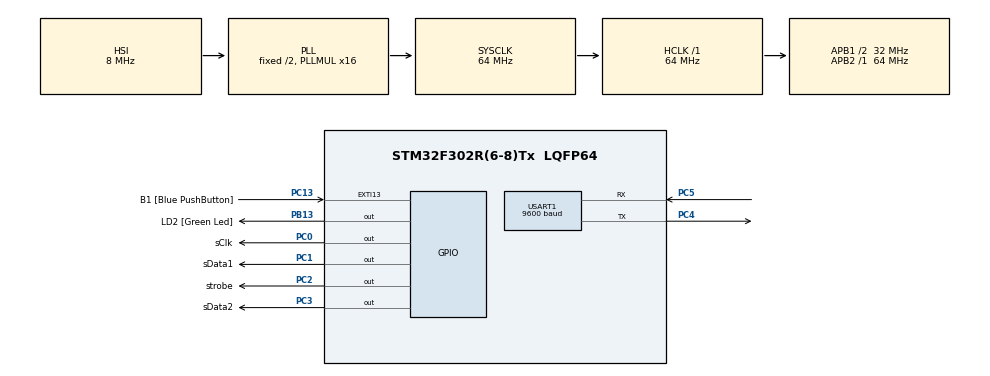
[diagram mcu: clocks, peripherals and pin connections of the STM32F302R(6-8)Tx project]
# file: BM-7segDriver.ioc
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Mcu.Family=STM32F3
Mcu.Name=STM32F302R(6-8)Tx
Mcu.Package=LQFP64
NVIC.EXTI15_10_IRQn=true\:0\:0\:false\:false\:true\:true\:true\:true
NVIC.PriorityGroup=NVIC_PRIORITYGROUP_0
NVIC.TIM2_IRQn=true\:0\:0\:false\:false\:true\:true\:true\:true
PA13.GPIO_Label=TMS
PA13.Mode=Serial_Wire
PA13.Signal=SYS_JTMS-SWDIO
PA14.GPIO_Label=TCK
PA14.Mode=Serial_Wire
PA14.Signal=SYS_JTCK-SWCLK
PA2.GPIO_Label=USART_TX
PA2.GPIO_Mode=GPIO_MODE_AF_PP
PA2.GPIO_PuPd=GPIO_NOPULL
PA2.GPIO_Speed=GPIO_SPEED_FREQ_LOW
PA2.Signal=USART2_TX
PA3.GPIO_Label=USART_RX
PA3.GPIO_Mode=GPIO_MODE_AF_PP
PA3.GPIO_PuPd=GPIO_NOPULL
PA3.GPIO_Speed=GPIO_SPEED_FREQ_LOW
PA3.Signal=USART2_RX
PB13.GPIO_Label=LD2 [Green Led]
PB13.Signal=GPIO_Output
PB3.GPIO_Label=SWO
PB3.Mode=Trace_Asynchronous_SW
PB3.Signal=SYS_JTDO-TRACESWO
PC0.GPIO_Label=sClk
PC0.GPIO_Speed=GPIO_SPEED_FREQ_HIGH
PC0.Signal=GPIO_Output
PC1.GPIO_Label=sData1
PC1.GPIO_Speed=GPIO_SPEED_FREQ_HIGH
PC1.Signal=GPIO_Output
PC13.GPIO_Label=B1 [Blue PushButton]
PC13.GPIO_ModeDefaultEXTI=GPIO_MODE_IT_RISING
PC13.Signal=GPXTI13
PC14\ -\ OSC32_IN.Mode=LSE-External-Oscillator
PC14\ -\ OSC32_IN.Signal=RCC_OSC32_IN
PC15\ -\ OSC32_OUT.Mode=LSE-External-Oscillator
PC15\ -\ OSC32_OUT.Signal=RCC_OSC32_OUT
PC2.GPIO_Label=strobe
PC2.GPIO_Speed=GPIO_SPEED_FREQ_HIGH
PC2.Signal=GPIO_Output
PC3.GPIO_Label=sData2
PC3.Signal=GPIO_Output
PC4.Mode=Asynchronous
PC4.Signal=USART1_TX
PC5.Mode=Asynchronous
PC5.Signal=USART1_RX
PF0-OSC_IN.Mode=HSE-External-Clock-Source
PF0-OSC_IN.Signal=RCC_OSC_IN
PF1-OSC_OUT.Signal=RCC_OSC_OUT
ProjectManager.HeapSize=0x200
ProjectManager.StackSize=0x400
ProjectManager.TargetToolchain=STM32CubeIDE
RCC.AHBFreq_Value=64000000
RCC.APB1CLKDivider=RCC_HCLK_DIV2
RCC.APB1Freq_Value=32000000
RCC.APB1TimFreq_Value=64000000
RCC.APB2Freq_Value=64000000
RCC.APB2TimFreq_Value=64000000
RCC.CortexFreq_Value=64000000
RCC.HCLKFreq_Value=64000000
RCC.HSE_VALUE=8000000
RCC.HSI_VALUE=8000000
RCC.PLLM=8
RCC.PLLMUL=RCC_PLL_MUL16
RCC.PLLN=336
RCC.PLLP=RCC_PLLP_DIV4
RCC.PLLQ=7
RCC.RCC_PLLsource_Clock_Source_FROM_HSE=RCC_HSE_PREDIV_DIV2
RCC.SYSCLKFreq_VALUE=64000000
RCC.SYSCLKSourceVirtual=RCC_SYSCLKSOURCE_PLLCLK
RCC.USBFreq_Value=64000000
TIM2.Period=100000
USART1.BaudRate=9600
USART1.VirtualMode-Asynchronous=VM_ASYNC
VP_TIM15_VS_ClockSourceINT.Mode=Internal
VP_TIM2_VS_ClockSourceINT.Mode=Internal
board=NUCLEO-F302R8

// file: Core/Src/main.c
/* USER CODE BEGIN Header */
/**
  ******************************************************************************
  * @file           : main.c
  * @brief          : Main program body
  ******************************************************************************
  * @attention
  *
  * Copyright (c) 2024 STMicroelectronics.
  * All rights reserved.
  *
  * This software is licensed under terms that can be found in the LICENSE file
  * in the root directory of this software component.
  * If no LICENSE file comes with this software, it is provided AS-IS.
  *
  ******************************************************************************
  */
/**
 * Version 1.0 07MAR24 /Dkv
 * Code for serial data transmission.
 * Receiving end-point is 2 8-bit cascade connected shift registers which is to
 * output data to two digit 7-segment display (each shit register is assigned to
 * one large 7-segment display).
 *
 * The shift registers is MC14094 or cd4094.
 * Must use a TTL(3.3V) to CMOS(12V) interface level shifter.
 *
 */
/* USER CODE END Header */
#include "main.h"

TIM_HandleTypeDef htim2;
TIM_HandleTypeDef htim15;

UART_HandleTypeDef huart1;

void SystemClock_Config(void);
static void MX_GPIO_Init(void);
static void MX_TIM2_Init(void);
static void MX_USART1_UART_Init(void);
static void MX_TIM15_Init(void);

/* USER CODE BEGIN 0 */

// 7-segment digit      0    1    2    3    4    5    6    7    8    9
// Common anode
//uint8_t ssCode[] = {0xc0,0xf9,0xa4,0xb0,0x99,0x92,0x82,0xf8,0x80,0x90}; // from the Internet

// Common cathode
//uint8_t ssCode[] = {0x3f,0x06,0x5b,0x4f,0x66,0x6d,0x7d,0x07,0xf7,0x4f}; // from the Internet
uint8_t ssCode[] = {0x3f,0x06,0x5b,0x4f,0x66,0x6d,0x7d,0x07,0x7f,0x67};
int delay = 1;
enum stop_watch_state {
   RUNNING,
   STOPPED,
   RESET_
} stopWatchState = RESET_;

void HAL_GPIO_EXTI_Callback(uint16_t GPIO_Pin) {
   if (stopWatchState == RUNNING) {
      stopWatchState = STOPPED;
      printf("Stop-watch STOPPED\r\n");
   }
   else if (stopWatchState == STOPPED) {
      stopWatchState = RESET_;
      printf("Stop-watch RESET\r\n");
   }
   else {
      // START
      stopWatchState = RUNNING;
      printf("Stop-watch RUNNING\r\n");
   }
}
/*
void HAL_TIM_PeriodElapsedCallback(TIM_HandleTypeDef *htim) {
   HAL_GPIO_TogglePin(LD2_GPIO_Port, LD2_Pin);
   HAL_TIM_Base_Start_IT(&htim2);
}
*/

int _write(int fd, char *ptr, int len) {
   //HAL_UART_Transmit(&huart1, (uint8_t *) ptr, len, HAL_MAX_DELAY);
   HAL_UART_Transmit(&huart1, (uint8_t*) ptr, len, 1000);
   return len;
}

void delay_us(volatile uint16_t au16_us)
{
   htim15.Instance->CNT = 0;
   while (htim15.Instance->CNT < au16_us);
}

void updateDisplay(uint8_t twoDigitNumber) {
   uint8_t sLine = 0;
   uint8_t element = 0;

   if (twoDigitNumber > 99)
      twoDigitNumber = 99;

   // First digit.
   uint8_t digit = twoDigitNumber%10;
   HAL_GPIO_TogglePin(LD2_GPIO_Port, LD2_Pin);

   // Start sending
   while (element < 2) {
      for (int i = 0; i < 8; i++) {
         // msb (most significant bit) on the line first => big endian (lowest value at the highest address at the receiving side)
         sLine = (ssCode[digit] >> (7-i)) & 0x1;
         // Data on sData_Pin
         HAL_GPIO_WritePin(GPIOC, sData1_Pin, sLine); //PC1 <=> D-SUB#4 = Orange&White = DATA
         HAL_Delay(delay);

         // Clock goes HIGH latching the data Neg. Logic
         HAL_GPIO_WritePin(GPIOC, sClk_Pin, GPIO_PIN_SET); //PC0 <=> D-SUB#5 = Green = CLK
         HAL_Delay(delay);
         //
         HAL_GPIO_WritePin(GPIOC, sClk_Pin, GPIO_PIN_RESET);
         HAL_Delay(delay);
      }
      // Second digit
      digit = twoDigitNumber/10;
      element++;
   }
   // Transmission done - strobe / latch new data onto the output on the shift registers.
   HAL_GPIO_WritePin(GPIOC, strobe_Pin, GPIO_PIN_SET); //PC2 <=> D-SUB#3 = Orange = STROBE
   HAL_Delay(delay);
   HAL_GPIO_WritePin(GPIOC, strobe_Pin, GPIO_PIN_RESET);
}

void update4Displays(uint16_t fourDigitNumber) {
   uint8_t sLine1 = 0;
   uint8_t sLine2 = 0;
   uint8_t element = 0;
   uint16_t modulo = 10;
   uint16_t digitPos = 1;
   uint8_t digits[4];

   // Extract digits to send
   for (int i = 0; i < 3; i++) {
      digits[i] = (fourDigitNumber%modulo)/digitPos;
      digitPos *= 10;
      modulo *= 10;
   }
   digits[3] = fourDigitNumber/digitPos;
   //printf("Digit string to send: %d %d %d %d\r\n", digits[3],digits[2],digits[1],digits[0]);
   //uint8_t digit = fourDigitNumber%modulo;
   HAL_GPIO_TogglePin(LD2_GPIO_Port, LD2_Pin);

   // Start sending
   while (element < 2) {
      for (int i = 0; i < 8; i++) {
         // msb (most significant bit) on the line first => big endian (lowest value at the highest address at the receiving side)
         sLine1 = (ssCode[digits[element]] >> (7-i)) & 0x1;
         sLine2 = (ssCode[digits[element+2]] >> (7-i)) & 0x1;
         // Data on sData_Pin
         HAL_GPIO_WritePin(GPIOC, sData1_Pin, sLine1); //PC1 <=> D-SUB#4 = Orange&White = DATA for display element 1
         HAL_GPIO_WritePin(GPIOC, sData2_Pin, sLine2); //PC3 <=> D-SUB#4 = Green&White = DATA for display element 2
         //HAL_Delay(delay);
         delay_us(250);

         // Clock goes HIGH latching the data Neg. Logic
         HAL_GPIO_WritePin(GPIOC, sClk_Pin, GPIO_PIN_SET); //PC0 <=> D-SUB#5 = Green = CLK
         //HAL_Delay(delay);
         delay_us(250);
         //
         HAL_GPIO_WritePin(GPIOC, sClk_Pin, GPIO_PIN_RESET);
         //HAL_Delay(delay);
         delay_us(250);
      }
      element++;
   }
   // Transmission done - strobe / latch new data onto the output on the shift registers.
   HAL_GPIO_WritePin(GPIOC, strobe_Pin, GPIO_PIN_SET); //PC2 <=> D-SUB#3 = Orange = STROBE
   HAL_Delay(delay);
   HAL_GPIO_WritePin(GPIOC, strobe_Pin, GPIO_PIN_RESET);
}
/* USER CODE END 0 */

int main(void)
{
  /* USER CODE BEGIN 1 */
  uint16_t stopWachTime = 0;
  //uint16_t hundreds = 0;
  //uint8_t seconds = 0;
  uint8_t resetSent = 0;
  /* USER CODE END 1 */

  /* MCU Configuration--------------------------------------------------------*/

  /* Reset of all peripherals, Initializes the Flash interface and the Systick. */
  HAL_Init();

  /* Configure the system clock */
  SystemClock_Config();

  /* Initialize all configured peripherals */
  MX_GPIO_Init();
  MX_TIM2_Init();
  MX_USART1_UART_Init();
  MX_TIM15_Init();
  /* USER CODE BEGIN 2 */
  HAL_GPIO_WritePin(LD2_GPIO_Port, LD2_Pin, GPIO_PIN_SET);
  HAL_TIM_Base_Start(&htim15);
  //HAL_Delay(2000);
  //HAL_GPIO_TogglePin(LD2_GPIO_Port, LD2_Pin);
  //HAL_TIM_Base_Start_IT(&htim2);
  update4Displays(1234);
  /* USER CODE END 2 */

  /* Infinite loop */
  while (1)
  {

    /* USER CODE BEGIN 3 */
     if (stopWatchState == RUNNING) {
        resetSent = 0;
        if (++stopWachTime > 5999) {
           stopWachTime = 0;
        }
        update4Displays(stopWachTime);
     }
     if (stopWatchState == RESET_) {
        if (resetSent == 0) {
           //printf("Stop-watch RESET*\r\n");
           stopWachTime = 0;
           update4Displays(stopWachTime);
           resetSent = 1;
        }
     }
     HAL_Delay(7);
  }
  /* USER CODE END 3 */
}

void SystemClock_Config(void)
{
  RCC_OscInitTypeDef RCC_OscInitStruct = {0};
  RCC_ClkInitTypeDef RCC_ClkInitStruct = {0};
  RCC_PeriphCLKInitTypeDef PeriphClkInit = {0};

  /** Initializes the RCC Oscillators according to the specified parameters
  * in the RCC_OscInitTypeDef structure.
  */
  RCC_OscInitStruct.OscillatorType = RCC_OSCILLATORTYPE_HSI;
  RCC_OscInitStruct.HSIState = RCC_HSI_ON;
  RCC_OscInitStruct.HSICalibrationValue = RCC_HSICALIBRATION_DEFAULT;
  RCC_OscInitStruct.PLL.PLLState = RCC_PLL_ON;
  RCC_OscInitStruct.PLL.PLLSource = RCC_PLLSOURCE_HSI;
  RCC_OscInitStruct.PLL.PLLMUL = RCC_PLL_MUL16;
  if (HAL_RCC_OscConfig(&RCC_OscInitStruct) != HAL_OK)
  {
    Error_Handler();
  }

  /** Initializes the CPU, AHB and APB buses clocks
  */
  RCC_ClkInitStruct.ClockType = RCC_CLOCKTYPE_HCLK|RCC_CLOCKTYPE_SYSCLK
                              |RCC_CLOCKTYPE_PCLK1|RCC_CLOCKTYPE_PCLK2;
  RCC_ClkInitStruct.SYSCLKSource = RCC_SYSCLKSOURCE_PLLCLK;
  RCC_ClkInitStruct.AHBCLKDivider = RCC_SYSCLK_DIV1;
  RCC_ClkInitStruct.APB1CLKDivider = RCC_HCLK_DIV2;
  RCC_ClkInitStruct.APB2CLKDivider = RCC_HCLK_DIV1;

  if (HAL_RCC_ClockConfig(&RCC_ClkInitStruct, FLASH_LATENCY_2) != HAL_OK)
  {
    Error_Handler();
  }
  PeriphClkInit.PeriphClockSelection = RCC_PERIPHCLK_USART1|RCC_PERIPHCLK_TIM15;
  PeriphClkInit.Usart1ClockSelection = RCC_USART1CLKSOURCE_PCLK1;
  PeriphClkInit.Tim15ClockSelection = RCC_TIM15CLK_HCLK;
  if (HAL_RCCEx_PeriphCLKConfig(&PeriphClkInit) != HAL_OK)
  {
    Error_Handler();
  }
}

static void MX_TIM2_Init(void)
{

  TIM_ClockConfigTypeDef sClockSourceConfig = {0};
  TIM_MasterConfigTypeDef sMasterConfig = {0};

  htim2.Instance = TIM2;
  htim2.Init.Prescaler = 0;
  htim2.Init.CounterMode = TIM_COUNTERMODE_UP;
  htim2.Init.Period = 100000;
  htim2.Init.ClockDivision = TIM_CLOCKDIVISION_DIV1;
  htim2.Init.AutoReloadPreload = TIM_AUTORELOAD_PRELOAD_DISABLE;
  if (HAL_TIM_Base_Init(&htim2) != HAL_OK)
  {
    Error_Handler();
  }
  sClockSourceConfig.ClockSource = TIM_CLOCKSOURCE_INTERNAL;
  if (HAL_TIM_ConfigClockSource(&htim2, &sClockSourceConfig) != HAL_OK)
  {
    Error_Handler();
  }
  sMasterConfig.MasterOutputTrigger = TIM_TRGO_RESET;
  sMasterConfig.MasterSlaveMode = TIM_MASTERSLAVEMODE_DISABLE;
  if (HAL_TIMEx_MasterConfigSynchronization(&htim2, &sMasterConfig) != HAL_OK)
  {
    Error_Handler();
  }

}

static void MX_TIM15_Init(void)
{

  TIM_ClockConfigTypeDef sClockSourceConfig = {0};
  TIM_MasterConfigTypeDef sMasterConfig = {0};

  htim15.Instance = TIM15;
  htim15.Init.Prescaler = 0;
  htim15.Init.CounterMode = TIM_COUNTERMODE_UP;
  htim15.Init.Period = 65535;
  htim15.Init.ClockDivision = TIM_CLOCKDIVISION_DIV1;
  htim15.Init.RepetitionCounter = 0;
  htim15.Init.AutoReloadPreload = TIM_AUTORELOAD_PRELOAD_DISABLE;
  if (HAL_TIM_Base_Init(&htim15) != HAL_OK)
  {
    Error_Handler();
  }
  sClockSourceConfig.ClockSource = TIM_CLOCKSOURCE_INTERNAL;
  if (HAL_TIM_ConfigClockSource(&htim15, &sClockSourceConfig) != HAL_OK)
  {
    Error_Handler();
  }
  sMasterConfig.MasterOutputTrigger = TIM_TRGO_RESET;
  sMasterConfig.MasterSlaveMode = TIM_MASTERSLAVEMODE_DISABLE;
  if (HAL_TIMEx_MasterConfigSynchronization(&htim15, &sMasterConfig) != HAL_OK)
  {
    Error_Handler();
  }

}

static void MX_USART1_UART_Init(void)
{

  huart1.Instance = USART1;
  huart1.Init.BaudRate = 9600;
  huart1.Init.WordLength = UART_WORDLENGTH_8B;
  huart1.Init.StopBits = UART_STOPBITS_1;
  huart1.Init.Parity = UART_PARITY_NONE;
  huart1.Init.Mode = UART_MODE_TX_RX;
  huart1.Init.HwFlowCtl = UART_HWCONTROL_NONE;
  huart1.Init.OverSampling = UART_OVERSAMPLING_16;
  huart1.Init.OneBitSampling = UART_ONE_BIT_SAMPLE_DISABLE;
  huart1.AdvancedInit.AdvFeatureInit = UART_ADVFEATURE_NO_INIT;
  if (HAL_UART_Init(&huart1) != HAL_OK)
  {
    Error_Handler();
  }

}

static void MX_GPIO_Init(void)
{
  GPIO_InitTypeDef GPIO_InitStruct = {0};

  /* GPIO Ports Clock Enable */
  __HAL_RCC_GPIOC_CLK_ENABLE();
  __HAL_RCC_GPIOF_CLK_ENABLE();
  __HAL_RCC_GPIOA_CLK_ENABLE();
  __HAL_RCC_GPIOB_CLK_ENABLE();

  /*Configure GPIO pin Output Level */
  HAL_GPIO_WritePin(GPIOC, sClk_Pin|sData1_Pin|strobe_Pin|sData2_Pin, GPIO_PIN_RESET);

  /*Configure GPIO pin Output Level */
  HAL_GPIO_WritePin(LD2_GPIO_Port, LD2_Pin, GPIO_PIN_RESET);

  /*Configure GPIO pin : B1_Pin */
  GPIO_InitStruct.Pin = B1_Pin;
  GPIO_InitStruct.Mode = GPIO_MODE_IT_RISING;
  GPIO_InitStruct.Pull = GPIO_NOPULL;
  HAL_GPIO_Init(B1_GPIO_Port, &GPIO_InitStruct);

  /*Configure GPIO pins : sClk_Pin sData1_Pin strobe_Pin */
  GPIO_InitStruct.Pin = sClk_Pin|sData1_Pin|strobe_Pin;
  GPIO_InitStruct.Mode = GPIO_MODE_OUTPUT_PP;
  GPIO_InitStruct.Pull = GPIO_NOPULL;
  GPIO_InitStruct.Speed = GPIO_SPEED_FREQ_HIGH;
  HAL_GPIO_Init(GPIOC, &GPIO_InitStruct);

  /*Configure GPIO pin : sData2_Pin */
  GPIO_InitStruct.Pin = sData2_Pin;
  GPIO_InitStruct.Mode = GPIO_MODE_OUTPUT_PP;
  GPIO_InitStruct.Pull = GPIO_NOPULL;
  GPIO_InitStruct.Speed = GPIO_SPEED_FREQ_LOW;
  HAL_GPIO_Init(sData2_GPIO_Port, &GPIO_InitStruct);

  /*Configure GPIO pins : USART_TX_Pin USART_RX_Pin */
  GPIO_InitStruct.Pin = USART_TX_Pin|USART_RX_Pin;
  GPIO_InitStruct.Mode = GPIO_MODE_AF_PP;
  GPIO_InitStruct.Pull = GPIO_NOPULL;
  GPIO_InitStruct.Speed = GPIO_SPEED_FREQ_LOW;
  GPIO_InitStruct.Alternate = GPIO_AF7_USART2;
  HAL_GPIO_Init(GPIOA, &GPIO_InitStruct);

  /*Configure GPIO pin : LD2_Pin */
  GPIO_InitStruct.Pin = LD2_Pin;
  GPIO_InitStruct.Mode = GPIO_MODE_OUTPUT_PP;
  GPIO_InitStruct.Pull = GPIO_NOPULL;
  GPIO_InitStruct.Speed = GPIO_SPEED_FREQ_LOW;
  HAL_GPIO_Init(LD2_GPIO_Port, &GPIO_InitStruct);

  /* EXTI interrupt init*/
  HAL_NVIC_SetPriority(EXTI15_10_IRQn, 0, 0);
  HAL_NVIC_EnableIRQ(EXTI15_10_IRQn);

}

void Error_Handler(void)
{
  __disable_irq();
  while (1)
  {
  }
}
